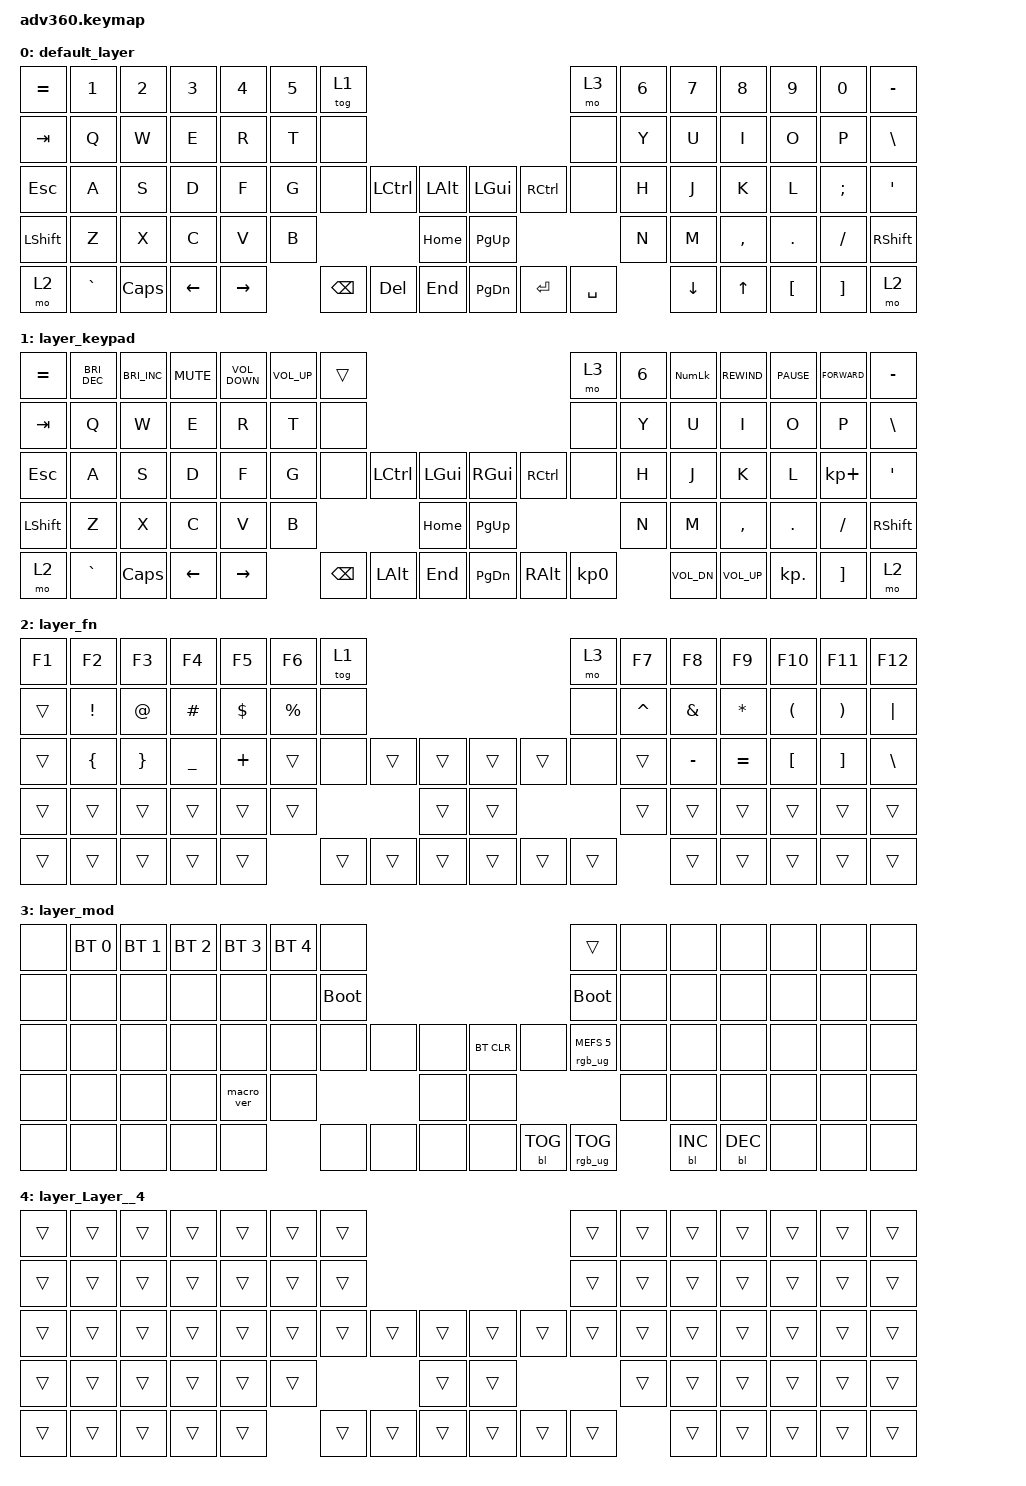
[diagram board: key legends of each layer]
/*
 * Copyright (c) 2020 The ZMK Contributors
 *
 * SPDX-License-Identifier: MIT
 */
/* THIS FILE WAS GENERATED!
 *
 * This file was generated automatically. You may or may not want to
 * edit it directly.
 */

#include <behaviors.dtsi>
#include <dt-bindings/zmk/backlight.h>
#include <dt-bindings/zmk/bt.h>
#include <dt-bindings/zmk/keys.h>
#include <dt-bindings/zmk/rgb.h>

/ {
    behaviors {
        #include "macros.dtsi"
    #include "version.dtsi"

        hm: homerow_mods {
            compatible = "zmk,behavior-hold-tap";
            label = "HOMEROW_MODS";
            #binding-cells = <2>;
            tapping-term-ms = <200>;
            quick_tap_ms = <175>;
            flavor = "tap-preferred";
            bindings = <&kp>, <&kp>;
        };
    };

    keymap {
        compatible = "zmk,keymap";

        default_layer {
            bindings = <
&kp EQUAL  &kp N1     &kp N2    &kp N3    &kp N4     &kp N5  &tog 1                                                   &mo 3      &kp N6  &kp N7          &kp N8        &kp N9    &kp N0    &kp MINUS
&kp TAB    &kp Q      &kp W     &kp E     &kp R      &kp T   &none                                                    &none      &kp Y   &kp U           &kp I         &kp O     &kp P     &kp BSLH
&kp ESC    &kp A      &kp S     &kp D     &kp F      &kp G   &none     &kp LCTRL  &kp LALT      &kp LGUI   &kp RCTRL  &none      &kp H   &kp J           &kp K         &kp L     &kp SEMI  &kp SQT
&kp LSHFT  &kp Z      &kp X     &kp C     &kp V      &kp B                        &kp HOME      &kp PG_UP                        &kp N   &kp M           &kp COMMA     &kp DOT   &kp FSLH  &kp RSHFT
&mo 2      &kp GRAVE  &kp CAPS  &kp LEFT  &kp RIGHT          &kp BSPC  &kp DEL    &kp END       &kp PG_DN  &kp ENTER  &kp SPACE          &kp DOWN_ARROW  &kp UP_ARROW  &kp LBKT  &kp RBKT  &mo 2
            >;
        };

        layer_keypad {
            bindings = <
&kp EQUAL  &kp C_BRIGHTNESS_DEC  &kp C_BRIGHTNESS_INC  &kp C_MUTE  &kp C_VOLUME_DOWN  &kp C_VOLUME_UP  &trans                                                   &mo 3      &kp N6  &kp KP_NUM    &kp C_REWIND  &kp C_PAUSE  &kp K_FORWARD  &kp MINUS
&kp TAB    &kp Q                 &kp W                 &kp E       &kp R              &kp T            &none                                                    &none      &kp Y   &kp U         &kp I         &kp O        &kp P          &kp BSLH
&kp ESC    &kp A                 &kp S                 &kp D       &kp F              &kp G            &none     &kp LCTRL  &kp LGUI      &kp RGUI   &kp RCTRL  &none      &kp H   &kp J         &kp K         &kp L        &kp KP_PLUS    &kp SQT
&kp LSHFT  &kp Z                 &kp X                 &kp C       &kp V              &kp B                                 &kp HOME      &kp PG_UP                        &kp N   &kp M         &kp COMMA     &kp PERIOD   &kp SLASH      &kp RSHFT
&mo 2      &kp GRAVE             &kp CAPS              &kp LEFT    &kp RIGHT                           &kp BSPC  &kp LALT   &kp END       &kp PG_DN  &kp RALT   &kp KP_N0          &kp C_VOL_DN  &kp C_VOL_UP  &kp KP_DOT   &kp RBKT       &mo 2
            >;
        };

        layer_fn {
            bindings = <
&kp F1  &kp F2           &kp F3           &kp F4          &kp F5      &kp F6       &tog 1                                      &mo 3   &kp F7     &kp F8         &kp F9        &kp F10               &kp F11                &kp F12
&trans  &kp EXCLAMATION  &kp AT_SIGN      &kp HASH        &kp DOLLAR  &kp PERCENT  &none                                       &none   &kp CARET  &kp AMPERSAND  &kp ASTERISK  &kp LEFT_PARENTHESIS  &kp RIGHT_PARENTHESIS  &kp PIPE
&trans  &kp LEFT_BRACE   &kp RIGHT_BRACE  &kp UNDERSCORE  &kp PLUS    &trans       &none   &trans  &trans      &trans  &trans  &none   &trans     &kp MINUS      &kp EQUAL     &kp LEFT_BRACKET      &kp RIGHT_BRACKET      &kp BACKSLASH
&trans  &trans           &trans           &trans          &trans      &trans                       &trans      &trans                  &trans     &trans         &trans        &trans                &trans                 &trans
&trans  &trans           &trans           &trans          &trans                   &trans  &trans  &trans      &trans  &trans  &trans             &trans         &trans        &trans                &trans                 &trans
            >;
        };

        layer_mod {
            bindings = <
&none  &bt BT_SEL 0  &bt BT_SEL 1  &bt BT_SEL 2  &bt BT_SEL 3  &bt BT_SEL 4  &none                                                  &trans                  &none  &none       &none       &none  &none  &none
&none  &none         &none         &none         &none         &none         &bootloader                                            &bootloader             &none  &none       &none       &none  &none  &none
&none  &none         &none         &none         &none         &none         &none        &none  &none      &bt BT_CLR  &none       &rgb_ug RGB_MEFS_CMD 5  &none  &none       &none       &none  &none  &none
&none  &none         &none         &none         &macro_ver    &none                             &none      &none                                           &none  &none       &none       &none  &none  &none
&none  &none         &none         &none         &none                       &none        &none  &none      &none       &bl BL_TOG  &rgb_ug RGB_TOG                &bl BL_INC  &bl BL_DEC  &none  &none  &none
            >;
        };

        layer_Layer__4 {
            bindings = <
&trans  &trans  &trans  &trans  &trans  &trans  &trans                                      &trans  &trans  &trans  &trans  &trans  &trans  &trans
&trans  &trans  &trans  &trans  &trans  &trans  &trans                                      &trans  &trans  &trans  &trans  &trans  &trans  &trans
&trans  &trans  &trans  &trans  &trans  &trans  &trans  &trans  &trans      &trans  &trans  &trans  &trans  &trans  &trans  &trans  &trans  &trans
&trans  &trans  &trans  &trans  &trans  &trans                  &trans      &trans                  &trans  &trans  &trans  &trans  &trans  &trans
&trans  &trans  &trans  &trans  &trans          &trans  &trans  &trans      &trans  &trans  &trans          &trans  &trans  &trans  &trans  &trans
            >;
        };
    };
};
